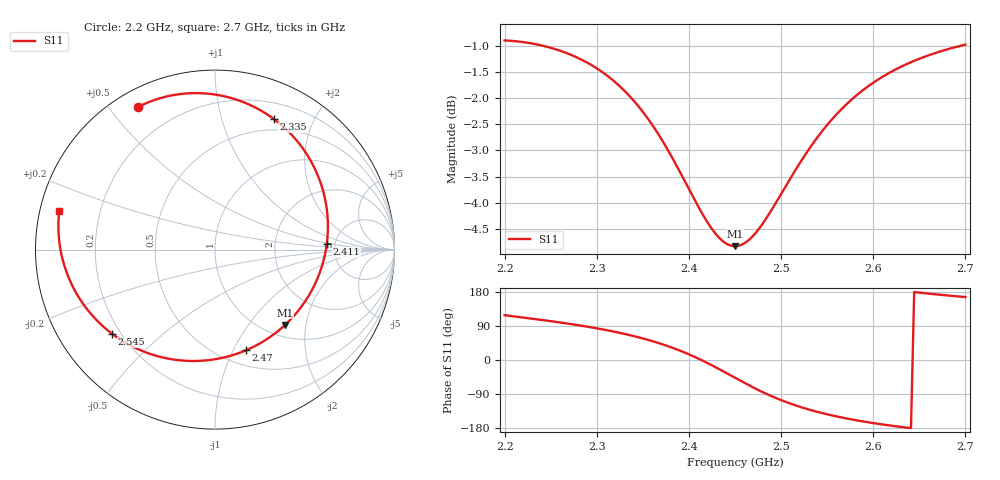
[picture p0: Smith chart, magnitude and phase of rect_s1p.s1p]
! Created Wed Jan 29 15:37:43 2025
! List of port names and net name(s): example Port n = <port_name> <net_name1> <net_name2> ...
! Port 1 = P2 P1
# hz S ma R 50
! 1 Port Network Data from data block
! freq  magS11  angS11
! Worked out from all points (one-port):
!   257 points, 2.2 GHz to 2.7 GHz, reference 50 ohm
!   lowest |S11| = -4.8 dB at 2.45 GHz (marker M1), VSWR 3.69, Z = 61.4 - j76.6 ohm
!   |S11| at or under -10 dB: nowhere
!   S11 on the Smith chart (normalised r, x): 2.2 GHz: 0.07, +0.60; 2.335 GHz: 0.37, +1.48; 2.411 GHz: 4.27, +0.45; 2.47 GHz: 0.66, -1.12; 2.545 GHz: 0.17, -0.35; 2.7 GHz: 0.06, +0.12
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2.2e9  0.9025 118.2
2.23125e9  0.896 108.6
2.2625e9  0.8809 98.3
2.296354e9  0.8526 85.2
2.325e9  0.8157 71.6
2.335417e9  0.7986 65.9
2.348438e9  0.7741 57.9
2.361458e9  0.7463 49.0
2.374479e9  0.7154 38.9
2.3875e9  0.6823 27.4
2.399219e9  0.6522 15.8
2.410938e9  0.6237 2.9
2.420052e9  0.6043 -7.9
2.430469e9  0.5869 -21.1
2.45e9  0.5732 -47.0
2.4602e9  0.5769 -60.5
2.469965e9  0.5868 -72.8
2.479731e9  0.6018 -84.5
2.490582e9  0.6228 -96.4
2.5125e9  0.6711 -117.0
2.529427e9  0.7082 -130.1
2.545486e9  0.7405 -140.6
2.559375e9  0.7654 -148.5
2.575e9  0.7899 -156.2
2.602778e9  0.8252 -167.5
2.6375e9  0.8576 -178.8
2.665278e9  0.8766 173.9
2.7e9  0.8943 166.1
